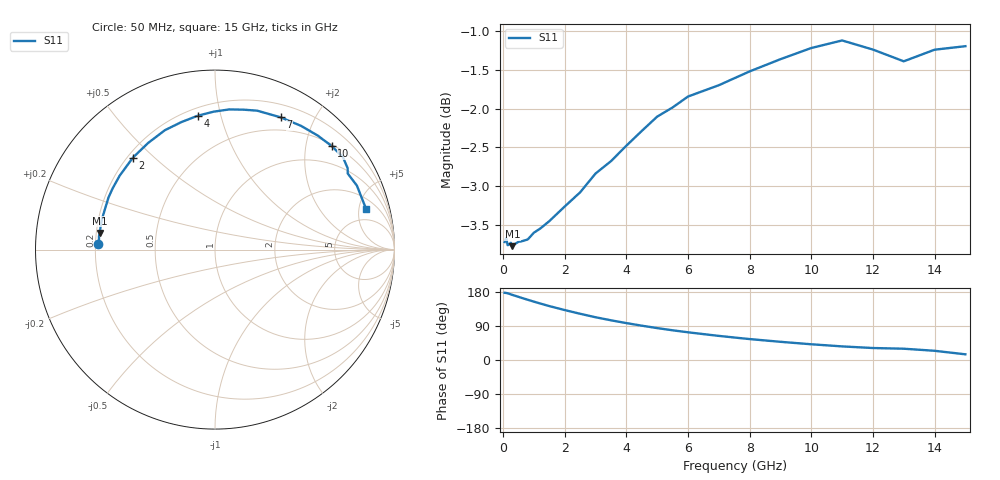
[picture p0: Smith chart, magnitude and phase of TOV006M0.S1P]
! SIEMENS Small Signal Semiconductors
! BAT15-03W
! Si Schottky Diode in SOD323
! IF = 6 mA
! S-Parameters:  May  1996
# GHz  S  MA  R  50
!  f  S11
! GHz  MAG  ANG
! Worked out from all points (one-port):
!   31 points, 50 MHz to 15 GHz, reference 50 ohm
!   lowest |S11| = -3.8 dB at 300 MHz (marker M1), VSWR 4.67, Z = 10.8 + j3.42 ohm
!   |S11| at or under -10 dB: nowhere
!   S11 on the Smith chart (normalised r, x): 50 MHz: 0.21, +0.02; 2 GHz: 0.22, +0.43; 4 GHz: 0.25, +0.85; 7 GHz: 0.34, +1.56; 10 GHz: 0.54, +2.54; 15 GHz: 3.16, +5.95
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0.05  0.6514 177.4
0.1  0.6551 176.9
0.15  0.6483 176.0
0.25  0.6506 173.3
0.3  0.6474 171.8
0.5  0.6516 166.7
0.8  0.6539 159.0
1  0.6605 154.0
1.2  0.6645 149.2
1.5  0.672 142.3
2  0.6868 131.8
2.5  0.7014 122.0
3  0.7213 112.8
3.5  0.7347 104.8
4  0.7518 97.4
4.5  0.7685 90.6
5  0.7851 84.2
5.5  0.7958 78.4
6  0.8089 73.1
7  0.8226 63.6
8  0.8397 55.2
9  0.8551 48.0
10  0.8694 41.5
11  0.8793 35.9
12  0.8675 31.6
13  0.8524 29.8
14  0.8673 24.3
15  0.8718 15.0
